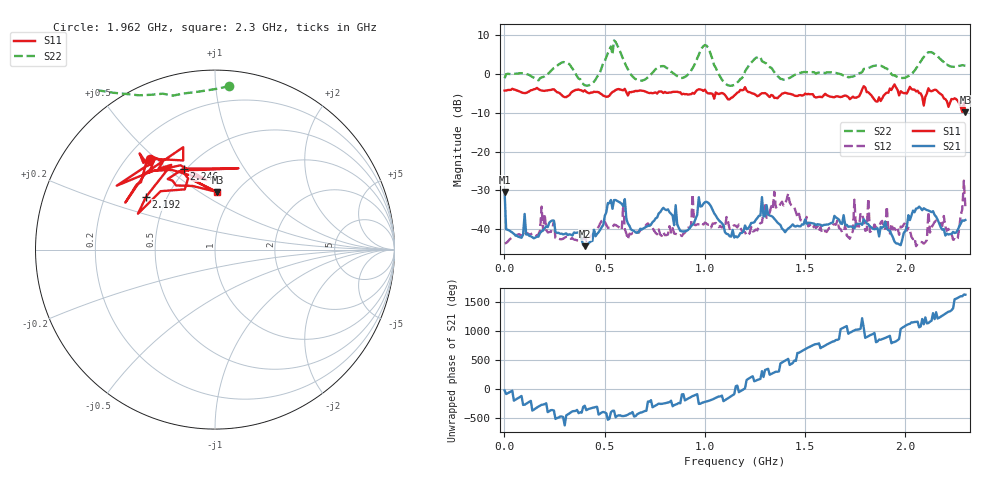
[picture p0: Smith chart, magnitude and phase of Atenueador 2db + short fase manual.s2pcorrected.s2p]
# Hz S DB R 50.000000
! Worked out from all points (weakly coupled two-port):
!   300 points, 1 MHz to 2.3 GHz, reference 50 ohm
!   highest |S21| = -30.40 dB at 1 MHz (marker M1); lowest = -44.4 dB at 400.8 MHz (marker M2)
!   lowest |S11| = -9.9 dB at 2.3 GHz (marker M3), VSWR 1.94, Z = 41.7 + j29.8 ohm
!   |S11| at or under -10 dB: nowhere
!   |S22| runs from -3.1 to 8.6 dB; largest |S21 - S12| = 0.055
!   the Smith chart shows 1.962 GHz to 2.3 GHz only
!   S11 on the Smith chart (normalised r, x): 1.962 GHz: 0.29, +0.48; 2.192 GHz: 0.38, +0.29; 2.246 GHz: 0.48, +0.57; 2.3 GHz: 0.83, +0.60
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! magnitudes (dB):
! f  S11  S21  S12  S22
! 1 MHz  -4.3  -30.4  -43.6  -1.1
! 8.689 MHz  -4.3  -40.0  -43.6  -0.1
! 54.82 MHz  -4.1  -41.5  -41.6  0.0
! 385.4 MHz  -4.3  -42.7  -42.3  -2.3
! 400.8 MHz  -4.2  -44.4  -42.1  -3.0
! 546.9 MHz  -4.5  -32.5  -38.8  8.6
! 769.9 MHz  -4.6  -35.9  -40.0  1.8
! 885.2 MHz  -5.3  -40.6  -41.8  -1.1
! 939.1 MHz  -4.9  -38.8  -31.1  1.5
! 1.154 GHz  -5.3  -41.8  -39.1  -2.6
! 1.285 GHz  -5.0  -31.7  -38.3  3.3
! 1.347 GHz  -6.2  -37.3  -30.4  0.4
! 1.539 GHz  -5.2  -38.5  -39.6  0.5
! 1.8 GHz  -3.5  -38.0  -40.4  1.3
! 1.816 GHz  -4.7  -38.7  -32.1  1.5
! 1.823 GHz  -5.1  -39.3  -40.7  1.6
! 1.923 GHz  -3.8  -40.5  -41.1  0.7
! 1.962 GHz  -4.1  -43.7  -39.7  -0.8
! 2.192 GHz  -6.3  -40.0  -36.6  3.0
! 2.246 GHz  -6.3  -41.0  -42.6  1.8
! 2.292 GHz  -7.6  -37.8  -27.5  2.2
! 2.3 GHz  -9.9  -37.6  -34.4  2.1
